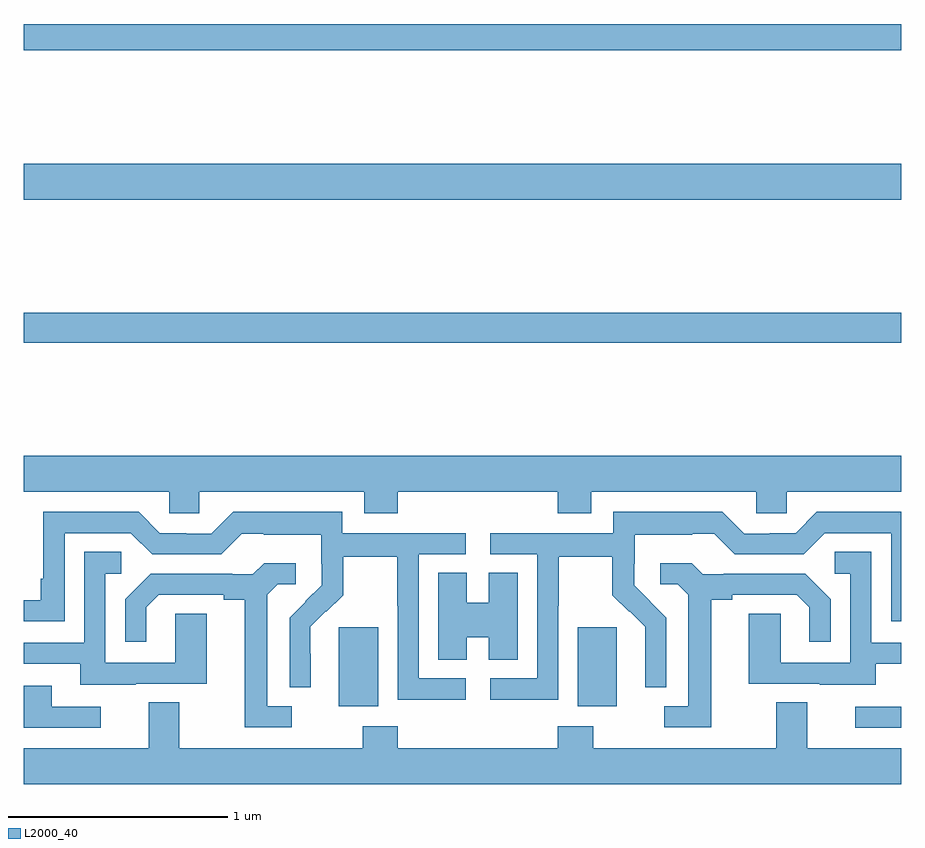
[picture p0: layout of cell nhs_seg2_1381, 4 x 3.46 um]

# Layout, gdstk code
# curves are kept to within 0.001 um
import gdstk
lib = gdstk.Library(unit=1e-6, precision=1e-09)
def R(c, l, rs):  # rectangles x0, y0, x1, y1
    for r in rs: c.add(gdstk.rectangle(r[:2], r[2:], *l))
def P(c, l, *ps):  # polygons
    for p in ps: c.add(gdstk.Polygon(p, *l))
L2000_40 = (2000, 40)

nhs_seg2_1381 = lib.new_cell('nhs_seg2_1381')
R(nhs_seg2_1381, L2000_40, [(186.789,614.592,187,614.688), (184.436,614.69,184.615,615.051), (185.525,614.69,185.704,615.051), (183,616.348,187,616.484), (183,617,187,617.164), (183,617.68,187,617.8)])
P(nhs_seg2_1381, L2000_40, [(183,615.668),(183.663,615.668),(183.663,615.57),(183.801,615.57),(183.801,615.668),(184.553,615.668),(184.553,615.569),(184.706,615.569),(184.706,615.668),(185.435,615.668),(185.435,615.569),(185.587,615.569),(185.587,615.668),(186.339,615.668),(186.339,615.57),(186.477,615.57),(186.477,615.668),(187,615.668),(187,615.832),(183,615.832)],
  [(185.014,614.817),(184.8,614.817),(184.8,615.384),(185.014,615.384),(185.014,615.48),(184.452,615.48),(184.452,615.577),(183.955,615.577),(183.855,615.477),(183.74,615.477),(183.74,615.48),(183.621,615.48),(183.525,615.576),(183.09,615.576),(183.09,615.271),(183.077,615.271),(183.077,615.174),(183,615.174),(183,615.078),(183.186,615.078),(183.186,615.48),(183.489,615.48),(183.585,615.384),(183.9,615.384),(183.993,615.477),(184.093,615.477),(184.093,615.473),(184.356,615.473),(184.356,615.339),(184.358,615.339),(184.358,615.242),(184.212,615.094),(184.212,614.776),(184.308,614.776),(184.307,615.053),(184.377,615.123),(184.38,615.12),(184.457,615.197),(184.457,615.372),(184.702,615.372),(184.702,615.148),(184.704,615.148),(184.704,614.719),(185.014,614.719)],
  [(185.436,615.148),(185.439,615.148),(185.439,615.372),(185.683,615.372),(185.683,615.197),(185.76,615.12),(185.763,615.123),(185.834,615.053),(185.834,614.93),(185.832,614.93),(185.832,614.776),(185.928,614.776),(185.928,615.094),(185.782,615.242),(185.782,615.339),(185.784,615.339),(185.784,615.473),(186.047,615.473),(186.047,615.477),(186.147,615.477),(186.24,615.384),(186.555,615.384),(186.651,615.48),(186.954,615.48),(186.954,615.078),(187,615.078),(187,615.576),(186.615,615.576),(186.519,615.48),(186.401,615.48),(186.401,615.477),(186.285,615.477),(186.185,615.577),(185.688,615.577),(185.688,615.48),(185.127,615.48),(185.127,615.384),(185.34,615.384),(185.34,614.817),(185.127,614.817),(185.127,614.719),(185.436,614.719)],
  [(183.511,614.793),(183.835,614.793),(183.835,615.113),(183.69,615.113),(183.69,614.889),(183.372,614.889),(183.372,615.294),(183.445,615.294),(183.445,615.395),(183.276,615.395),(183.276,614.979),(183,614.979),(183,614.883),(183.257,614.883),(183.257,614.789),(183.511,614.789)],
  [(186.883,614.883),(187,614.883),(187,614.979),(186.864,614.979),(186.864,615.395),(186.696,615.395),(186.696,615.294),(186.768,615.294),(186.768,614.889),(186.45,614.889),(186.45,615.113),(186.305,615.113),(186.305,614.793),(186.629,614.793),(186.629,614.789),(186.883,614.789)],
  [(184.222,614.691),(184.111,614.691),(184.111,615.199),(184.158,615.246),(184.24,615.246),(184.24,615.343),(184.096,615.343),(184.044,615.291),(183.95,615.291),(183.95,615.294),(183.578,615.294),(183.462,615.178),(183.462,614.985),(183.559,614.985),(183.559,615.141),(183.616,615.198),(183.911,615.198),(183.911,615.176),(184.007,615.176),(184.007,614.595),(184.222,614.595)],
  [(186.133,615.176),(186.229,615.176),(186.229,615.198),(186.524,615.198),(186.581,615.141),(186.581,614.985),(186.678,614.985),(186.678,615.178),(186.562,615.294),(186.19,615.294),(186.19,615.291),(186.096,615.291),(186.044,615.343),(185.901,615.343),(185.901,615.246),(185.982,615.246),(186.029,615.199),(186.029,614.691),(185.919,614.691),(185.919,614.595),(186.133,614.595)],
  [(185.02,615.005),(185.12,615.005),(185.12,614.902),(185.251,614.902),(185.251,615.299),(185.12,615.299),(185.12,615.163),(185.02,615.163),(185.02,615.299),(184.889,615.299),(184.889,614.902),(185.02,614.902)],
  [(183.352,614.688),(183.127,614.688),(183.127,614.784),(183,614.784),(183,614.592),(183.352,614.592)],
  [(187,614.5),(186.571,614.5),(186.571,614.708),(186.431,614.708),(186.431,614.5),(185.595,614.5),(185.595,614.599),(185.435,614.599),(185.435,614.5),(184.706,614.5),(184.706,614.599),(184.546,614.599),(184.546,614.5),(183.709,614.5),(183.709,614.708),(183.569,614.708),(183.569,614.5),(183,614.5),(183,614.336),(187,614.336)])

lib.write_gds('nhs_seg2_1381.gds')
